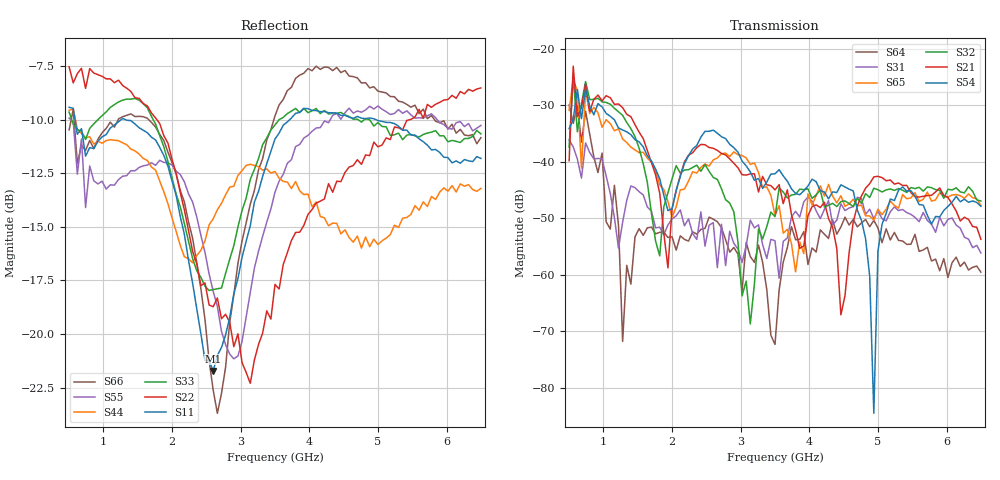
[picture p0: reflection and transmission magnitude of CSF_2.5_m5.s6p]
!Keysight Technologies,M9804A,MY58100912,A.14.10.03
!Date: Thursday, April 27, 2023 10:28:33
!Correction: S11(C  6-Port  )
!S12(C  6-Port  )
!S13(C  6-Port  )
!S14(C  6-Port  )
!S15(C  6-Port  )
!S16(C  6-Port  )
!S21(C  6-Port  )
!S22(C  6-Port  )
!S23(C  6-Port  )
!S24(C  6-Port  )
!S25(C  6-Port  )
!S26(C  6-Port  )
!S31(C  6-Port  )
!S32(C  6-Port  )
!S33(C  6-Port  )
!S34(C  6-Port  )
!S35(C  6-Port  )
!S36(C  6-Port  )
!S41(C  6-Port  )
!S42(C  6-Port  )
!S43(C  6-Port  )
!S44(C  6-Port  )
!S45(C  6-Port  )
!S46(C  6-Port  )
!S51(C  6-Port  )
!S52(C  6-Port  )
!S53(C  6-Port  )
!S54(C  6-Port  )
!S55(C  6-Port  )
!S56(C  6-Port  )
!S61(C  6-Port  )
!S62(C  6-Port  )
!S63(C  6-Port  )
!S64(C  6-Port  )
!S65(C  6-Port  )
!S66(C  6-Port  )
!S6P File: Measurement: :
# Hz S  RI  R 50
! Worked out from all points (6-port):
!   101 points, 500 MHz to 6.5 GHz, reference 50 ohm
!   strongest paths, dB at 500 MHz, 2 GHz, 3.5 GHz, 5 GHz, 6.5 GHz:
!     S54: -34.2, -48.3, -42.1, -55.8, -47.9
!     S21: -39.8, -48.3, -45.0, -42.6, -53.7
!     S32: -37.4, -43.0, -49.7, -45.0, -47.0
!     S65: -30.9, -49.8, -49.5, -48.4, -47.7
!     S31: -36.1, -50.1, -54.0, -48.7, -56.1
!     S64: -30.0, -53.3, -72.3, -51.7, -59.5
!   lowest |S11| = -21.7 dB at 2.6 GHz (marker M1), VSWR 1.18, Z = 42.7 + j1.95 ohm
!   |S11| at or under -10 dB: 586 MHz to 1.26 GHz (674 MHz wide, 73 % of centre); 1.317 GHz to 3.716 GHz (2.399 GHz wide, 95.3 % of centre); 4.967 GHz to end of sweep
